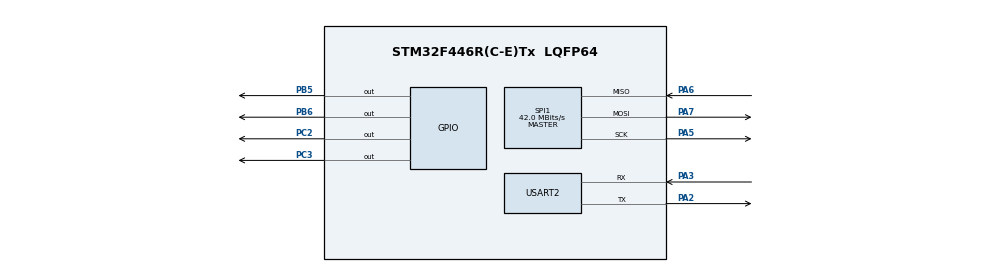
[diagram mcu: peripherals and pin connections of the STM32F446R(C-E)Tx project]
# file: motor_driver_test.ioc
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Mcu.Family=STM32F4
Mcu.Name=STM32F446R(C-E)Tx
Mcu.Package=LQFP64
NVIC.PriorityGroup=NVIC_PRIORITYGROUP_0
PA2.Mode=Asynchronous
PA2.Signal=USART2_TX
PA3.Mode=Asynchronous
PA3.Signal=USART2_RX
PA5.Mode=Full_Duplex_Master
PA5.Signal=SPI1_SCK
PA6.Mode=Full_Duplex_Master
PA6.Signal=SPI1_MISO
PA7.Mode=Full_Duplex_Master
PA7.Signal=SPI1_MOSI
PB5.Signal=GPIO_Output
PB6.Signal=GPIO_Output
PC2.Signal=GPIO_Output
PC3.Signal=GPIO_Output
ProjectManager.HeapSize=0x200
ProjectManager.StackSize=0x400
ProjectManager.TargetToolchain=STM32CubeIDE
RCC.48MHZClocksFreq_Value=84000000
RCC.AHBFreq_Value=84000000
RCC.APB1CLKDivider=RCC_HCLK_DIV2
RCC.APB1Freq_Value=42000000
RCC.APB1TimFreq_Value=84000000
RCC.APB2Freq_Value=84000000
RCC.APB2TimFreq_Value=84000000
RCC.CortexFreq_Value=84000000
RCC.FLatency-AdvancedSettings=FLASH_LATENCY_2
RCC.HCLKFreq_Value=84000000
RCC.HSE_VALUE=8000000
RCC.HSI_VALUE=16000000
RCC.PLLN=336
RCC.PLLP=RCC_PLLP_DIV4
RCC.SYSCLKFreq_VALUE=84000000
RCC.SYSCLKSource=RCC_SYSCLKSOURCE_PLLCLK
RCC.USBFreq_Value=168000000
RCC.VCOOutputFreq_Value=336000000
SPI1.CalculateBaudRate=42.0 MBits/s
SPI1.Direction=SPI_DIRECTION_2LINES
SPI1.Mode=SPI_MODE_MASTER
SPI1.VirtualType=VM_MASTER
USART2.VirtualMode=VM_ASYNC
board=NUCLEO-F446RE

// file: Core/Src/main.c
	/* USER CODE BEGIN Header */
	/**
	  ******************************************************************************
	  * @file           : main.c
	  * @brief          : Main program body
	  ******************************************************************************
	  * @attention
	  *
	  * Copyright (c) 2026 STMicroelectronics.
	  * All rights reserved.
	  *
	  * This software is licensed under terms that can be found in the LICENSE file
	  * in the root directory of this software component.
	  * If no LICENSE file comes with this software, it is provided AS-IS.
	  *
	  ******************************************************************************
	  */
	/* USER CODE END Header */
	/* Includes ------------------------------------------------------------------*/
	#include "main.h"

	/* Private includes ----------------------------------------------------------*/
	/* USER CODE BEGIN Includes */
	#include <stdio.h>
	#include <string.h>
	#include "TMC5160.h"

	/* USER CODE END Includes */

	/* Private typedef -----------------------------------------------------------*/

	/* Private define ------------------------------------------------------------*/

	/* Private macro -----------	--------------------------------------------------*/

	/* Private variables ---------------------------------------------------------*/
	SPI_HandleTypeDef hspi1;

	UART_HandleTypeDef huart2;

	/* USER CODE BEGIN PV */

	// Setup motor
	TMC5160_TypeDef htmc;
	const TMC5160_Config_TypeDef htmc_cfg = {
	  .hspi = &hspi1,
	  .cs = {.port = GPIOB, .pin = GPIO_PIN_6},
	  .en = {.port = GPIOB, .pin = GPIO_PIN_5},
	  .r_sense = 0.075f,
	};
	/* USER CODE END PV */

	/* Private function prototypes -----------------------------------------------*/
	void SystemClock_Config(void);
	static void MX_GPIO_Init(void);
	static void MX_USART2_UART_Init(void);
	static void MX_SPI1_Init(void);

	/* Private user code ---------------------------------------------------------*/

	/**
	  * @brief  The application entry point.
	  * @retval int
	  */
	int main(void)
	{

	  /* MCU Configuration--------------------------------------------------------*/

	  /* Reset of all peripherals, Initializes the Flash interface and the Systick. */
	  HAL_Init();

	  /* Configure the system clock */
	  SystemClock_Config();

	  /* Initialize all configured peripherals */
	  MX_GPIO_Init();
	  MX_USART2_UART_Init();
	  MX_SPI1_Init();
	  /* USER CODE BEGIN 2 */

	  // Initialize the motor
	  if (TMC5160_Init(&htmc, &htmc_cfg) != TMC5160_OK)
	  {
		Error_Handler();
	  }
	  // Enable EN Pin
	  if (TMC5160_SetEN(&htmc, GPIO_PIN_RESET) != TMC5160_OK)
	  {
		Error_Handler();
	  }

	  // Read the chip version (expected: 0x30 for the TMC5160)
	  TMC5160_IOIN_TypeDef ioin = TMC5160_GetIOIN(&htmc); // Check motor's driver information
	  char buf[64];
	  int len = snprintf(buf, sizeof(buf), "Driver: %u\r\n", ioin.version);
	  HAL_UART_Transmit(&huart2, (uint8_t *)buf, len, HAL_MAX_DELAY);

	  /* USER CODE END 2 */

	  /* Infinite loop */
	  while (1)
	  {
		/* USER CODE BEGIN 3 */
		  // Move to 180°
		  if (TMC5160_MoveTo(&htmc, 25600) != TMC5160_OK)
		  {
			Error_Handler();
		  }
		  HAL_Delay(2000);

		  // Move to 0°
		  if (TMC5160_MoveTo(&htmc, 0) != TMC5160_OK)
		  {
			Error_Handler();
		  }
		  HAL_Delay(2000);
		/* USER CODE END 3 */
	  }
	}

	/**
	  * @brief System Clock Configuration
	  * @retval None
	  */
	void SystemClock_Config(void)
	{
	  RCC_OscInitTypeDef RCC_OscInitStruct = {0};
	  RCC_ClkInitTypeDef RCC_ClkInitStruct = {0};

	  /** Configure the main internal regulator output voltage
	  */
	  __HAL_RCC_PWR_CLK_ENABLE();
	  __HAL_PWR_VOLTAGESCALING_CONFIG(PWR_REGULATOR_VOLTAGE_SCALE3);

	  /** Initializes the RCC Oscillators according to the specified parameters
	  * in the RCC_OscInitTypeDef structure.
	  */
	  RCC_OscInitStruct.OscillatorType = RCC_OSCILLATORTYPE_HSI;
	  RCC_OscInitStruct.HSIState = RCC_HSI_ON;
	  RCC_OscInitStruct.HSICalibrationValue = RCC_HSICALIBRATION_DEFAULT;
	  RCC_OscInitStruct.PLL.PLLState = RCC_PLL_ON;
	  RCC_OscInitStruct.PLL.PLLSource = RCC_PLLSOURCE_HSI;
	  RCC_OscInitStruct.PLL.PLLM = 16;
	  RCC_OscInitStruct.PLL.PLLN = 336;
	  RCC_OscInitStruct.PLL.PLLP = RCC_PLLP_DIV4;
	  RCC_OscInitStruct.PLL.PLLQ = 2;
	  RCC_OscInitStruct.PLL.PLLR = 2;
	  if (HAL_RCC_OscConfig(&RCC_OscInitStruct) != HAL_OK)
	  {
		Error_Handler();
	  }

	  /** Initializes the CPU, AHB and APB buses clocks
	  */
	  RCC_ClkInitStruct.ClockType = RCC_CLOCKTYPE_HCLK|RCC_CLOCKTYPE_SYSCLK
								  |RCC_CLOCKTYPE_PCLK1|RCC_CLOCKTYPE_PCLK2;
	  RCC_ClkInitStruct.SYSCLKSource = RCC_SYSCLKSOURCE_PLLCLK;
	  RCC_ClkInitStruct.AHBCLKDivider = RCC_SYSCLK_DIV1;
	  RCC_ClkInitStruct.APB1CLKDivider = RCC_HCLK_DIV2;
	  RCC_ClkInitStruct.APB2CLKDivider = RCC_HCLK_DIV1;

	  if (HAL_RCC_ClockConfig(&RCC_ClkInitStruct, FLASH_LATENCY_2) != HAL_OK)
	  {
		Error_Handler();
	  }
	}

	/**
	  * @brief SPI1 Initialization Function
	  * @param None
	  * @retval None
	  */
	static void MX_SPI1_Init(void)
	{

	  /* SPI1 parameter configuration*/
	  hspi1.Instance = SPI1;
	  hspi1.Init.Mode = SPI_MODE_MASTER;
	  hspi1.Init.Direction = SPI_DIRECTION_2LINES;
	  hspi1.Init.DataSize = SPI_DATASIZE_8BIT;
	  hspi1.Init.CLKPolarity = SPI_POLARITY_HIGH;
	  hspi1.Init.CLKPhase = SPI_PHASE_2EDGE;
	  hspi1.Init.NSS = SPI_NSS_SOFT;
	  hspi1.Init.BaudRatePrescaler = SPI_BAUDRATEPRESCALER_256;
	  hspi1.Init.FirstBit = SPI_FIRSTBIT_MSB;
	  hspi1.Init.TIMode = SPI_TIMODE_DISABLE;
	  hspi1.Init.CRCCalculation = SPI_CRCCALCULATION_DISABLE;
	  hspi1.Init.CRCPolynomial = 10;
	  if (HAL_SPI_Init(&hspi1) != HAL_OK)
	  {
		Error_Handler();
	  }

	}

	/**
	  * @brief USART2 Initialization Function
	  * @param None
	  * @retval None
	  */
	static void MX_USART2_UART_Init(void)
	{

	  huart2.Instance = USART2;
	  huart2.Init.BaudRate = 115200;
	  huart2.Init.WordLength = UART_WORDLENGTH_8B;
	  huart2.Init.StopBits = UART_STOPBITS_1;
	  huart2.Init.Parity = UART_PARITY_NONE;
	  huart2.Init.Mode = UART_MODE_TX_RX;
	  huart2.Init.HwFlowCtl = UART_HWCONTROL_NONE;
	  huart2.Init.OverSampling = UART_OVERSAMPLING_16;
	  if (HAL_UART_Init(&huart2) != HAL_OK)
	  {
		Error_Handler();
	  }

	}

	/**
	  * @brief GPIO Initialization Function
	  * @param None
	  * @retval None
	  */
	static void MX_GPIO_Init(void)
	{
	  GPIO_InitTypeDef GPIO_InitStruct = {0};

	  /* GPIO Ports Clock Enable */
	  __HAL_RCC_GPIOC_CLK_ENABLE();
	  __HAL_RCC_GPIOA_CLK_ENABLE();
	  __HAL_RCC_GPIOB_CLK_ENABLE();

	  /*Configure GPIO pin Output Level */
	  HAL_GPIO_WritePin(GPIOC, GPIO_PIN_2, GPIO_PIN_RESET);
	  HAL_GPIO_WritePin(GPIOC, GPIO_PIN_3, GPIO_PIN_SET);

	  /*Configure GPIO pin Output Level */
	  HAL_GPIO_WritePin(GPIOB, GPIO_PIN_5|GPIO_PIN_6, GPIO_PIN_SET);

	  /*Configure GPIO pins : PC2 PC3 */
	  GPIO_InitStruct.Pin = GPIO_PIN_2|GPIO_PIN_3;
	  GPIO_InitStruct.Mode = GPIO_MODE_OUTPUT_PP;
	  GPIO_InitStruct.Pull = GPIO_NOPULL;
	  GPIO_InitStruct.Speed = GPIO_SPEED_FREQ_LOW;
	  HAL_GPIO_Init(GPIOC, &GPIO_InitStruct);

	  /*Configure GPIO pins : PB5 PB6 */
	  GPIO_InitStruct.Pin = GPIO_PIN_5|GPIO_PIN_6;
	  GPIO_InitStruct.Mode = GPIO_MODE_OUTPUT_PP;
	  GPIO_InitStruct.Pull = GPIO_NOPULL;
	  GPIO_InitStruct.Speed = GPIO_SPEED_FREQ_LOW;
	  HAL_GPIO_Init(GPIOB, &GPIO_InitStruct);

	}

	/**
	  * @brief  This function is executed in case of error occurrence.
	  * @retval None
	  */
	void Error_Handler(void)
	{
	  __disable_irq();
	  while (1)
	  {
	  }
	}
	#ifdef USE_FULL_ASSERT
	/**
	  * @brief  Reports the name of the source file and the source line number
	  *         where the assert_param error has occurred.
	  * @param  file: pointer to the source file name
	  * @param  line: assert_param error line source number
	  * @retval None
	  */
	void assert_failed(uint8_t *file, uint32_t line)
	{
	}
	#endif /* USE_FULL_ASSERT */
